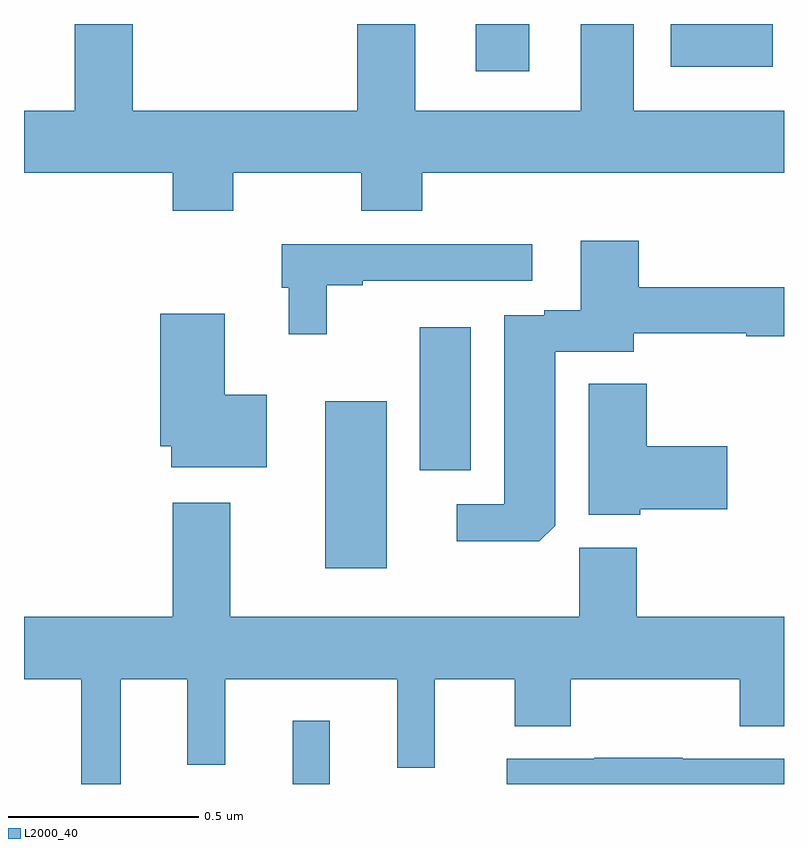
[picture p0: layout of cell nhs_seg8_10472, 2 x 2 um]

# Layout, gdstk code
import gdstk
lib = gdstk.Library(unit=1e-6, precision=1e-09)
def R(c, l, rs):  # rectangles x0, y0, x1, y1
    for r in rs: c.add(gdstk.rectangle(r[:2], r[2:], *l))
def P(c, l, *ps):  # polygons
    for p in ps: c.add(gdstk.Polygon(p, *l))
L2000_40 = (2000, 40)

nhs_seg8_10472 = lib.new_cell('nhs_seg8_10472')
R(nhs_seg8_10472, L2000_40, [(250.707,1106.9,250.804,1107.067), (250.793,1107.468,250.954,1107.907), (251.042,1107.726,251.176,1108.102), (251.189,1108.776,251.329,1108.9), (251.702,1108.787,251.971,1108.9)])
P(nhs_seg8_10472, L2000_40, [(250.551,1108.508),(250.888,1108.508),(250.888,1108.409),(251.048,1108.409),(251.048,1108.508),(252,1108.508),(252,1108.672),(251.605,1108.672),(251.605,1108.9),(251.465,1108.9),(251.465,1108.672),(251.029,1108.672),(251.029,1108.9),(250.877,1108.9),(250.877,1108.672),(250.286,1108.672),(250.286,1108.9),(250.133,1108.9),(250.133,1108.672),(250,1108.672),(250,1108.508),(250.391,1108.508),(250.391,1108.409),(250.551,1108.409)],
  [(251.398,1107.58),(251.398,1108.038),(251.605,1108.038),(251.605,1108.086),(251.901,1108.086),(251.901,1108.078),(252,1108.078),(252,1108.207),(251.618,1108.207),(251.618,1108.33),(251.465,1108.33),(251.465,1108.147),(251.369,1108.147),(251.369,1108.134),(251.264,1108.134),(251.264,1107.636),(251.139,1107.636),(251.139,1107.539),(251.356,1107.539)],
  [(250.797,1108.212),(250.891,1108.212),(250.891,1108.224),(251.338,1108.224),(251.338,1108.32),(250.678,1108.32),(250.678,1108.206),(250.697,1108.206),(250.697,1108.083),(250.797,1108.083)],
  [(250.639,1107.925),(250.528,1107.925),(250.528,1108.138),(250.358,1108.138),(250.358,1107.789),(250.388,1107.789),(250.388,1107.734),(250.639,1107.734)],
  [(251.622,1107.623),(251.851,1107.623),(251.851,1107.789),(251.639,1107.789),(251.639,1107.953),(251.486,1107.953),(251.486,1107.608),(251.622,1107.608)],
  [(250.255,1107.176),(250.43,1107.176),(250.43,1106.951),(250.529,1106.951),(250.529,1107.176),(250.982,1107.176),(250.982,1106.943),(251.081,1106.943),(251.081,1107.176),(251.291,1107.176),(251.291,1107.052),(251.439,1107.052),(251.439,1107.176),(251.884,1107.176),(251.884,1107.052),(252,1107.052),(252,1107.34),(251.612,1107.34),(251.612,1107.522),(251.461,1107.522),(251.461,1107.34),(250.543,1107.34),(250.543,1107.64),(250.391,1107.64),(250.391,1107.34),(250,1107.34),(250,1107.176),(250.151,1107.176),(250.151,1106.9),(250.255,1106.9)],
  [(252,1106.967),(251.733,1106.967),(251.733,1106.969),(251.501,1106.969),(251.501,1106.967),(251.271,1106.967),(251.271,1106.9),(252,1106.9)])

lib.write_gds('nhs_seg8_10472.gds')
